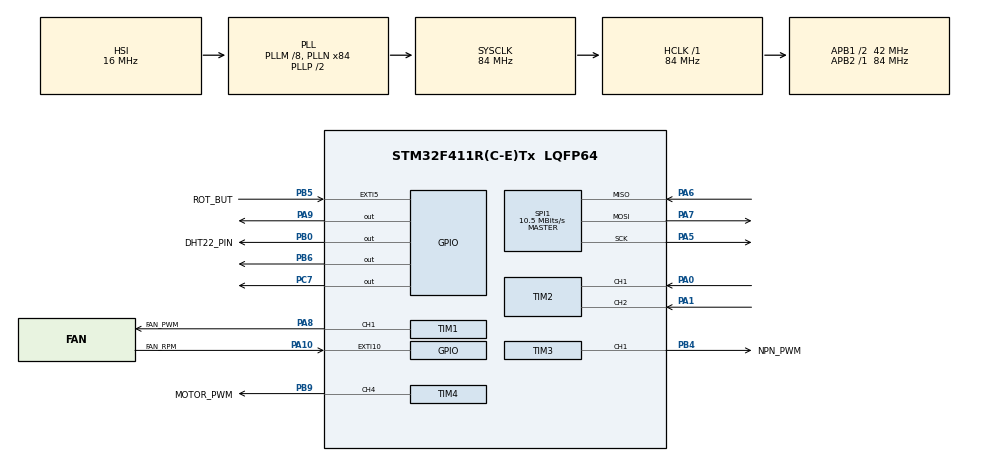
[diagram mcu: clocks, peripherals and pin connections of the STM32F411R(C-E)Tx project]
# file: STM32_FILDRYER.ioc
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Mcu.Family=STM32F4
Mcu.Name=STM32F411R(C-E)Tx
Mcu.Package=LQFP64
NVIC.EXTI15_10_IRQn=true\:0\:0\:false\:false\:true\:true\:true\:true
NVIC.EXTI9_5_IRQn=true\:0\:0\:false\:false\:true\:true\:true\:true
NVIC.PriorityGroup=NVIC_PRIORITYGROUP_0
NVIC.TIM1_TRG_COM_TIM11_IRQn=true\:0\:0\:false\:false\:true\:true\:true\:true
NVIC.TIM1_UP_TIM10_IRQn=true\:0\:0\:false\:false\:true\:true\:true\:true
NVIC.TIM2_IRQn=true\:0\:0\:false\:false\:true\:true\:true\:true
PA0-WKUP.GPIO_PuPd=GPIO_PULLUP
PA0-WKUP.GPIO_Speed=GPIO_SPEED_FREQ_MEDIUM
PA0-WKUP.Signal=S_TIM2_CH1_ETR
PA1.GPIO_PuPd=GPIO_PULLUP
PA1.GPIO_Speed=GPIO_SPEED_FREQ_MEDIUM
PA1.Signal=S_TIM2_CH2
PA10.GPIO_Label=FAN_RPM
PA10.GPIO_ModeDefaultEXTI=GPIO_MODE_IT_FALLING
PA10.GPIO_PuPd=GPIO_PULLUP
PA10.Signal=GPXTI10
PA5.Mode=Full_Duplex_Master
PA5.Signal=SPI1_SCK
PA6.Mode=Full_Duplex_Master
PA6.Signal=SPI1_MISO
PA7.Mode=Full_Duplex_Master
PA7.Signal=SPI1_MOSI
PA8.GPIO_Label=FAN_PWM
PA8.Signal=S_TIM1_CH1
PA9.Signal=GPIO_Output
PB0.GPIO_Label=DHT22_PIN
PB0.GPIO_PuPd=GPIO_PULLUP
PB0.GPIO_Speed=GPIO_SPEED_FREQ_VERY_HIGH
PB0.PinState=GPIO_PIN_SET
PB0.Signal=GPIO_Output
PB15.Signal=SPI2_MOSI
PB4.GPIO_Label=NPN_PWM
PB4.GPIO_PuPd=GPIO_PULLUP
PB4.GPIO_Speed=GPIO_SPEED_FREQ_MEDIUM
PB4.Signal=S_TIM3_CH1
PB5.GPIO_Label=ROT_BUT
PB5.GPIO_ModeDefaultEXTI=GPIO_MODE_IT_FALLING
PB5.GPIO_PuPd=GPIO_PULLUP
PB5.Signal=GPXTI5
PB6.Signal=GPIO_Output
PB9.GPIO_Label=MOTOR_PWM
PB9.Signal=S_TIM4_CH4
PC7.Signal=GPIO_Output
ProjectManager.HeapSize=0x200
ProjectManager.StackSize=0x400
ProjectManager.TargetToolchain=STM32CubeIDE
RCC.48MHZClocksFreq_Value=42000000
RCC.AHBFreq_Value=84000000
RCC.APB1CLKDivider=RCC_HCLK_DIV2
RCC.APB1Freq_Value=42000000
RCC.APB1TimFreq_Value=84000000
RCC.APB2Freq_Value=84000000
RCC.APB2TimFreq_Value=84000000
RCC.CortexFreq_Value=84000000
RCC.FLatency-AdvancedSettings=FLASH_LATENCY_2
RCC.HCLKFreq_Value=84000000
RCC.HSE_VALUE=8000000
RCC.HSI_VALUE=16000000
RCC.LSE_VALUE=32768
RCC.PLLM=8
RCC.PLLN=84
RCC.SYSCLKFreq_VALUE=84000000
RCC.SYSCLKSource=RCC_SYSCLKSOURCE_PLLCLK
RCC.VCOOutputFreq_Value=168000000
SH.S_TIM1_CH1.0=TIM1_CH1,PWM Generation1 CH1
SH.S_TIM2_CH1_ETR.0=TIM2_CH1,Encoder_Interface
SH.S_TIM2_CH2.0=TIM2_CH2,Encoder_Interface
SH.S_TIM3_CH1.0=TIM3_CH1,PWM Generation1 CH1
SH.S_TIM4_CH4.0=TIM4_CH4,PWM Generation4 CH4
SPI1.BaudRatePrescaler=SPI_BAUDRATEPRESCALER_8
SPI1.CalculateBaudRate=10.5 MBits/s
SPI1.Direction=SPI_DIRECTION_2LINES
SPI1.Mode=SPI_MODE_MASTER
SPI1.VirtualType=VM_MASTER
TIM1.Channel-PWM\ Generation1\ CH1=TIM_CHANNEL_1
TIM1.OCFastMode_PWM-PWM\ Generation1\ CH1=TIM_OCFAST_ENABLE
TIM1.Period=3599
TIM1.Pulse-PWM\ Generation1\ CH1=3359
TIM10.AutoReloadPreload=TIM_AUTORELOAD_PRELOAD_DISABLE
TIM10.Period=999
TIM10.Prescaler=8399
TIM11.Prescaler=83
TIM2.EncoderMode=TIM_ENCODERMODE_TI12
TIM2.IC1Filter=8
TIM2.IC1Polarity=TIM_ICPOLARITY_FALLING
TIM2.IC2Filter=8
TIM2.IC2Polarity=TIM_ICPOLARITY_FALLING
TIM3.Channel-PWM\ Generation1\ CH1=TIM_CHANNEL_1
TIM3.Period=1000
TIM3.Prescaler=83
TIM3.Pulse-PWM\ Generation1\ CH1=1000
TIM4.Channel-PWM\ Generation4\ CH4=TIM_CHANNEL_4
TIM4.OCFastMode_PWM-PWM\ Generation4\ CH4=TIM_OCFAST_ENABLE
TIM4.Period=3599
VP_TIM10_VS_ClockSourceINT.Mode=Enable_Timer
VP_TIM11_VS_ClockSourceINT.Mode=Enable_Timer
VP_TIM1_VS_ClockSourceINT.Mode=Internal
VP_TIM3_VS_ClockSourceINT.Mode=Internal
VP_TIM4_VS_ClockSourceINT.Mode=Internal
board=NUCLEO-F411RE

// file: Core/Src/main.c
/* USER CODE BEGIN Header */
/**
 ******************************************************************************
 * @file           : main.c
 * @brief          : Main program body
 ******************************************************************************
 * @attention
 *
 * Copyright (c) 2026 STMicroelectronics.
 * All rights reserved.
 *
 * This software is licensed under terms that can be found in the LICENSE file
 * in the root directory of this software component.
 * If no LICENSE file comes with this software, it is provided AS-IS.
 *
 ******************************************************************************
 */
/* USER CODE END Header */
#include "main.h"

/* USER CODE BEGIN Includes */
#include "app.h"
#include "ui.h"
#include "control.h"
#include "dht22.h"

/* USER CODE END Includes */

SPI_HandleTypeDef hspi1;

TIM_HandleTypeDef htim1;
TIM_HandleTypeDef htim2;
TIM_HandleTypeDef htim3;
TIM_HandleTypeDef htim4;
TIM_HandleTypeDef htim10;
TIM_HandleTypeDef htim11;

void SystemClock_Config(void);
static void MX_GPIO_Init(void);
static void MX_SPI1_Init(void);
static void MX_TIM10_Init(void);
static void MX_TIM11_Init(void);
static void MX_TIM2_Init(void);
static void MX_TIM3_Init(void);
static void MX_TIM1_Init(void);
static void MX_TIM4_Init(void);

int main(void)
{

  /* MCU Configuration--------------------------------------------------------*/

  /* Reset of all peripherals, Initializes the Flash interface and the Systick. */
  HAL_Init();

  /* Configure the system clock */
  SystemClock_Config();

  /* Initialize all configured peripherals */
  MX_GPIO_Init();
  MX_SPI1_Init();
  MX_TIM10_Init();
  MX_TIM11_Init();
  MX_TIM2_Init();
  MX_TIM3_Init();
  MX_TIM1_Init();
  MX_TIM4_Init();
  /* USER CODE BEGIN 2 */

  	// control timer init
	HAL_TIM_Base_Start_IT(&htim10);

	//encoder init
	HAL_TIM_Encoder_Start_IT(&htim2, TIM_CHANNEL_ALL);
	//for temp sensor

	DHT22_Init(&htim11);
	HAL_TIM_Base_Start(&htim11);

	// Heater PWM
	HAL_TIM_PWM_Start(&htim3, TIM_CHANNEL_1);

	// Fan PWM
	HAL_TIM_PWM_Start(&htim1, TIM_CHANNEL_1);

	// Motor PWM
	HAL_TIM_PWM_Start(&htim4, TIM_CHANNEL_4);

	//dryer settings
	settings_init();
	//__HAL_TIM_SET_COMPARE(&htim3, TIM_CHANNEL_1, 1000);
	// UI setup
	UI_Init();
	UI_DrawBootImage();

	HAL_Delay(2000);

  /* USER CODE END 2 */

  /* Infinite loop */
  /* USER CODE BEGIN WHILE */
	while (1) {
		__HAL_TIM_SET_COMPARE(&htim4, TIM_CHANNEL_4, 0);
		readTemp();
		Run_App();
		HAL_Delay(10);

    /* USER CODE END WHILE */

	}
}

void SystemClock_Config(void)
{
  RCC_OscInitTypeDef RCC_OscInitStruct = {0};
  RCC_ClkInitTypeDef RCC_ClkInitStruct = {0};

  /** Configure the main internal regulator output voltage
  */
  __HAL_RCC_PWR_CLK_ENABLE();
  __HAL_PWR_VOLTAGESCALING_CONFIG(PWR_REGULATOR_VOLTAGE_SCALE1);

  /** Initializes the RCC Oscillators according to the specified parameters
  * in the RCC_OscInitTypeDef structure.
  */
  RCC_OscInitStruct.OscillatorType = RCC_OSCILLATORTYPE_HSI;
  RCC_OscInitStruct.HSIState = RCC_HSI_ON;
  RCC_OscInitStruct.HSICalibrationValue = RCC_HSICALIBRATION_DEFAULT;
  RCC_OscInitStruct.PLL.PLLState = RCC_PLL_ON;
  RCC_OscInitStruct.PLL.PLLSource = RCC_PLLSOURCE_HSI;
  RCC_OscInitStruct.PLL.PLLM = 8;
  RCC_OscInitStruct.PLL.PLLN = 84;
  RCC_OscInitStruct.PLL.PLLP = RCC_PLLP_DIV2;
  RCC_OscInitStruct.PLL.PLLQ = 4;
  if (HAL_RCC_OscConfig(&RCC_OscInitStruct) != HAL_OK)
  {
    Error_Handler();
  }

  /** Initializes the CPU, AHB and APB buses clocks
  */
  RCC_ClkInitStruct.ClockType = RCC_CLOCKTYPE_HCLK|RCC_CLOCKTYPE_SYSCLK
                              |RCC_CLOCKTYPE_PCLK1|RCC_CLOCKTYPE_PCLK2;
  RCC_ClkInitStruct.SYSCLKSource = RCC_SYSCLKSOURCE_PLLCLK;
  RCC_ClkInitStruct.AHBCLKDivider = RCC_SYSCLK_DIV1;
  RCC_ClkInitStruct.APB1CLKDivider = RCC_HCLK_DIV2;
  RCC_ClkInitStruct.APB2CLKDivider = RCC_HCLK_DIV1;

  if (HAL_RCC_ClockConfig(&RCC_ClkInitStruct, FLASH_LATENCY_2) != HAL_OK)
  {
    Error_Handler();
  }
}

static void MX_SPI1_Init(void)
{

  /* SPI1 parameter configuration*/
  hspi1.Instance = SPI1;
  hspi1.Init.Mode = SPI_MODE_MASTER;
  hspi1.Init.Direction = SPI_DIRECTION_2LINES;
  hspi1.Init.DataSize = SPI_DATASIZE_8BIT;
  hspi1.Init.CLKPolarity = SPI_POLARITY_LOW;
  hspi1.Init.CLKPhase = SPI_PHASE_1EDGE;
  hspi1.Init.NSS = SPI_NSS_SOFT;
  hspi1.Init.BaudRatePrescaler = SPI_BAUDRATEPRESCALER_8;
  hspi1.Init.FirstBit = SPI_FIRSTBIT_MSB;
  hspi1.Init.TIMode = SPI_TIMODE_DISABLE;
  hspi1.Init.CRCCalculation = SPI_CRCCALCULATION_DISABLE;
  hspi1.Init.CRCPolynomial = 10;
  if (HAL_SPI_Init(&hspi1) != HAL_OK)
  {
    Error_Handler();
  }

}

static void MX_TIM1_Init(void)
{

  TIM_ClockConfigTypeDef sClockSourceConfig = {0};
  TIM_MasterConfigTypeDef sMasterConfig = {0};
  TIM_OC_InitTypeDef sConfigOC = {0};
  TIM_BreakDeadTimeConfigTypeDef sBreakDeadTimeConfig = {0};

  htim1.Instance = TIM1;
  htim1.Init.Prescaler = 0;
  htim1.Init.CounterMode = TIM_COUNTERMODE_UP;
  htim1.Init.Period = 3599;
  htim1.Init.ClockDivision = TIM_CLOCKDIVISION_DIV1;
  htim1.Init.RepetitionCounter = 0;
  htim1.Init.AutoReloadPreload = TIM_AUTORELOAD_PRELOAD_DISABLE;
  if (HAL_TIM_Base_Init(&htim1) != HAL_OK)
  {
    Error_Handler();
  }
  sClockSourceConfig.ClockSource = TIM_CLOCKSOURCE_INTERNAL;
  if (HAL_TIM_ConfigClockSource(&htim1, &sClockSourceConfig) != HAL_OK)
  {
    Error_Handler();
  }
  if (HAL_TIM_PWM_Init(&htim1) != HAL_OK)
  {
    Error_Handler();
  }
  sMasterConfig.MasterOutputTrigger = TIM_TRGO_RESET;
  sMasterConfig.MasterSlaveMode = TIM_MASTERSLAVEMODE_DISABLE;
  if (HAL_TIMEx_MasterConfigSynchronization(&htim1, &sMasterConfig) != HAL_OK)
  {
    Error_Handler();
  }
  sConfigOC.OCMode = TIM_OCMODE_PWM1;
  sConfigOC.Pulse = 3359;
  sConfigOC.OCPolarity = TIM_OCPOLARITY_HIGH;
  sConfigOC.OCNPolarity = TIM_OCNPOLARITY_HIGH;
  sConfigOC.OCFastMode = TIM_OCFAST_ENABLE;
  sConfigOC.OCIdleState = TIM_OCIDLESTATE_RESET;
  sConfigOC.OCNIdleState = TIM_OCNIDLESTATE_RESET;
  if (HAL_TIM_PWM_ConfigChannel(&htim1, &sConfigOC, TIM_CHANNEL_1) != HAL_OK)
  {
    Error_Handler();
  }
  sBreakDeadTimeConfig.OffStateRunMode = TIM_OSSR_DISABLE;
  sBreakDeadTimeConfig.OffStateIDLEMode = TIM_OSSI_DISABLE;
  sBreakDeadTimeConfig.LockLevel = TIM_LOCKLEVEL_OFF;
  sBreakDeadTimeConfig.DeadTime = 0;
  sBreakDeadTimeConfig.BreakState = TIM_BREAK_DISABLE;
  sBreakDeadTimeConfig.BreakPolarity = TIM_BREAKPOLARITY_HIGH;
  sBreakDeadTimeConfig.AutomaticOutput = TIM_AUTOMATICOUTPUT_DISABLE;
  if (HAL_TIMEx_ConfigBreakDeadTime(&htim1, &sBreakDeadTimeConfig) != HAL_OK)
  {
    Error_Handler();
  }
  HAL_TIM_MspPostInit(&htim1);

}

static void MX_TIM2_Init(void)
{

  TIM_Encoder_InitTypeDef sConfig = {0};
  TIM_MasterConfigTypeDef sMasterConfig = {0};

  htim2.Instance = TIM2;
  htim2.Init.Prescaler = 0;
  htim2.Init.CounterMode = TIM_COUNTERMODE_UP;
  htim2.Init.Period = 4294967295;
  htim2.Init.ClockDivision = TIM_CLOCKDIVISION_DIV1;
  htim2.Init.AutoReloadPreload = TIM_AUTORELOAD_PRELOAD_DISABLE;
  sConfig.EncoderMode = TIM_ENCODERMODE_TI12;
  sConfig.IC1Polarity = TIM_ICPOLARITY_FALLING;
  sConfig.IC1Selection = TIM_ICSELECTION_DIRECTTI;
  sConfig.IC1Prescaler = TIM_ICPSC_DIV1;
  sConfig.IC1Filter = 8;
  sConfig.IC2Polarity = TIM_ICPOLARITY_FALLING;
  sConfig.IC2Selection = TIM_ICSELECTION_DIRECTTI;
  sConfig.IC2Prescaler = TIM_ICPSC_DIV1;
  sConfig.IC2Filter = 8;
  if (HAL_TIM_Encoder_Init(&htim2, &sConfig) != HAL_OK)
  {
    Error_Handler();
  }
  sMasterConfig.MasterOutputTrigger = TIM_TRGO_RESET;
  sMasterConfig.MasterSlaveMode = TIM_MASTERSLAVEMODE_DISABLE;
  if (HAL_TIMEx_MasterConfigSynchronization(&htim2, &sMasterConfig) != HAL_OK)
  {
    Error_Handler();
  }

}

static void MX_TIM3_Init(void)
{

  TIM_ClockConfigTypeDef sClockSourceConfig = {0};
  TIM_MasterConfigTypeDef sMasterConfig = {0};
  TIM_OC_InitTypeDef sConfigOC = {0};

  htim3.Instance = TIM3;
  htim3.Init.Prescaler = 83;
  htim3.Init.CounterMode = TIM_COUNTERMODE_UP;
  htim3.Init.Period = 1000;
  htim3.Init.ClockDivision = TIM_CLOCKDIVISION_DIV1;
  htim3.Init.AutoReloadPreload = TIM_AUTORELOAD_PRELOAD_DISABLE;
  if (HAL_TIM_Base_Init(&htim3) != HAL_OK)
  {
    Error_Handler();
  }
  sClockSourceConfig.ClockSource = TIM_CLOCKSOURCE_INTERNAL;
  if (HAL_TIM_ConfigClockSource(&htim3, &sClockSourceConfig) != HAL_OK)
  {
    Error_Handler();
  }
  if (HAL_TIM_PWM_Init(&htim3) != HAL_OK)
  {
    Error_Handler();
  }
  sMasterConfig.MasterOutputTrigger = TIM_TRGO_RESET;
  sMasterConfig.MasterSlaveMode = TIM_MASTERSLAVEMODE_DISABLE;
  if (HAL_TIMEx_MasterConfigSynchronization(&htim3, &sMasterConfig) != HAL_OK)
  {
    Error_Handler();
  }
  sConfigOC.OCMode = TIM_OCMODE_PWM1;
  sConfigOC.Pulse = 1000;
  sConfigOC.OCPolarity = TIM_OCPOLARITY_HIGH;
  sConfigOC.OCFastMode = TIM_OCFAST_DISABLE;
  if (HAL_TIM_PWM_ConfigChannel(&htim3, &sConfigOC, TIM_CHANNEL_1) != HAL_OK)
  {
    Error_Handler();
  }
  HAL_TIM_MspPostInit(&htim3);

}

static void MX_TIM4_Init(void)
{

  TIM_ClockConfigTypeDef sClockSourceConfig = {0};
  TIM_MasterConfigTypeDef sMasterConfig = {0};
  TIM_OC_InitTypeDef sConfigOC = {0};

  htim4.Instance = TIM4;
  htim4.Init.Prescaler = 0;
  htim4.Init.CounterMode = TIM_COUNTERMODE_UP;
  htim4.Init.Period = 3599;
  htim4.Init.ClockDivision = TIM_CLOCKDIVISION_DIV1;
  htim4.Init.AutoReloadPreload = TIM_AUTORELOAD_PRELOAD_DISABLE;
  if (HAL_TIM_Base_Init(&htim4) != HAL_OK)
  {
    Error_Handler();
  }
  sClockSourceConfig.ClockSource = TIM_CLOCKSOURCE_INTERNAL;
  if (HAL_TIM_ConfigClockSource(&htim4, &sClockSourceConfig) != HAL_OK)
  {
    Error_Handler();
  }
  if (HAL_TIM_PWM_Init(&htim4) != HAL_OK)
  {
    Error_Handler();
  }
  sMasterConfig.MasterOutputTrigger = TIM_TRGO_RESET;
  sMasterConfig.MasterSlaveMode = TIM_MASTERSLAVEMODE_DISABLE;
  if (HAL_TIMEx_MasterConfigSynchronization(&htim4, &sMasterConfig) != HAL_OK)
  {
    Error_Handler();
  }
  sConfigOC.OCMode = TIM_OCMODE_PWM1;
  sConfigOC.Pulse = 0;
  sConfigOC.OCPolarity = TIM_OCPOLARITY_HIGH;
  sConfigOC.OCFastMode = TIM_OCFAST_ENABLE;
  if (HAL_TIM_PWM_ConfigChannel(&htim4, &sConfigOC, TIM_CHANNEL_4) != HAL_OK)
  {
    Error_Handler();
  }
  HAL_TIM_MspPostInit(&htim4);

}

static void MX_TIM10_Init(void)
{

  htim10.Instance = TIM10;
  htim10.Init.Prescaler = 8399;
  htim10.Init.CounterMode = TIM_COUNTERMODE_UP;
  htim10.Init.Period = 999;
  htim10.Init.ClockDivision = TIM_CLOCKDIVISION_DIV1;
  htim10.Init.AutoReloadPreload = TIM_AUTORELOAD_PRELOAD_DISABLE;
  if (HAL_TIM_Base_Init(&htim10) != HAL_OK)
  {
    Error_Handler();
  }

}

static void MX_TIM11_Init(void)
{

  htim11.Instance = TIM11;
  htim11.Init.Prescaler = 83;
  htim11.Init.CounterMode = TIM_COUNTERMODE_UP;
  htim11.Init.Period = 65535;
  htim11.Init.ClockDivision = TIM_CLOCKDIVISION_DIV1;
  htim11.Init.AutoReloadPreload = TIM_AUTORELOAD_PRELOAD_DISABLE;
  if (HAL_TIM_Base_Init(&htim11) != HAL_OK)
  {
    Error_Handler();
  }

}

static void MX_GPIO_Init(void)
{
  GPIO_InitTypeDef GPIO_InitStruct = {0};

  /* GPIO Ports Clock Enable */
  __HAL_RCC_GPIOA_CLK_ENABLE();
  __HAL_RCC_GPIOB_CLK_ENABLE();
  __HAL_RCC_GPIOC_CLK_ENABLE();

  /*Configure GPIO pin Output Level */
  HAL_GPIO_WritePin(DHT22_PIN_GPIO_Port, DHT22_PIN_Pin, GPIO_PIN_SET);

  /*Configure GPIO pin Output Level */
  HAL_GPIO_WritePin(GPIOC, GPIO_PIN_7, GPIO_PIN_RESET);

  /*Configure GPIO pin Output Level */
  HAL_GPIO_WritePin(GPIOA, GPIO_PIN_9, GPIO_PIN_RESET);

  /*Configure GPIO pin Output Level */
  HAL_GPIO_WritePin(GPIOB, GPIO_PIN_6, GPIO_PIN_RESET);

  /*Configure GPIO pin : DHT22_PIN_Pin */
  GPIO_InitStruct.Pin = DHT22_PIN_Pin;
  GPIO_InitStruct.Mode = GPIO_MODE_OUTPUT_PP;
  GPIO_InitStruct.Pull = GPIO_PULLUP;
  GPIO_InitStruct.Speed = GPIO_SPEED_FREQ_VERY_HIGH;
  HAL_GPIO_Init(DHT22_PIN_GPIO_Port, &GPIO_InitStruct);

  /*Configure GPIO pin : PB15 */
  GPIO_InitStruct.Pin = GPIO_PIN_15;
  GPIO_InitStruct.Mode = GPIO_MODE_AF_PP;
  GPIO_InitStruct.Pull = GPIO_NOPULL;
  GPIO_InitStruct.Speed = GPIO_SPEED_FREQ_VERY_HIGH;
  GPIO_InitStruct.Alternate = GPIO_AF5_SPI2;
  HAL_GPIO_Init(GPIOB, &GPIO_InitStruct);

  /*Configure GPIO pin : PC7 */
  GPIO_InitStruct.Pin = GPIO_PIN_7;
  GPIO_InitStruct.Mode = GPIO_MODE_OUTPUT_PP;
  GPIO_InitStruct.Pull = GPIO_NOPULL;
  GPIO_InitStruct.Speed = GPIO_SPEED_FREQ_LOW;
  HAL_GPIO_Init(GPIOC, &GPIO_InitStruct);

  /*Configure GPIO pin : PA9 */
  GPIO_InitStruct.Pin = GPIO_PIN_9;
  GPIO_InitStruct.Mode = GPIO_MODE_OUTPUT_PP;
  GPIO_InitStruct.Pull = GPIO_NOPULL;
  GPIO_InitStruct.Speed = GPIO_SPEED_FREQ_LOW;
  HAL_GPIO_Init(GPIOA, &GPIO_InitStruct);

  /*Configure GPIO pin : FAN_RPM_Pin */
  GPIO_InitStruct.Pin = FAN_RPM_Pin;
  GPIO_InitStruct.Mode = GPIO_MODE_IT_FALLING;
  GPIO_InitStruct.Pull = GPIO_PULLUP;
  HAL_GPIO_Init(FAN_RPM_GPIO_Port, &GPIO_InitStruct);

  /*Configure GPIO pin : ROT_BUT_Pin */
  GPIO_InitStruct.Pin = ROT_BUT_Pin;
  GPIO_InitStruct.Mode = GPIO_MODE_IT_FALLING;
  GPIO_InitStruct.Pull = GPIO_PULLUP;
  HAL_GPIO_Init(ROT_BUT_GPIO_Port, &GPIO_InitStruct);

  /*Configure GPIO pin : PB6 */
  GPIO_InitStruct.Pin = GPIO_PIN_6;
  GPIO_InitStruct.Mode = GPIO_MODE_OUTPUT_PP;
  GPIO_InitStruct.Pull = GPIO_NOPULL;
  GPIO_InitStruct.Speed = GPIO_SPEED_FREQ_LOW;
  HAL_GPIO_Init(GPIOB, &GPIO_InitStruct);

  /* EXTI interrupt init*/
  HAL_NVIC_SetPriority(EXTI9_5_IRQn, 0, 0);
  HAL_NVIC_EnableIRQ(EXTI9_5_IRQn);

  HAL_NVIC_SetPriority(EXTI15_10_IRQn, 0, 0);
  HAL_NVIC_EnableIRQ(EXTI15_10_IRQn);

}

void Error_Handler(void)
{
	__disable_irq();
	while (1) {
	}
}
